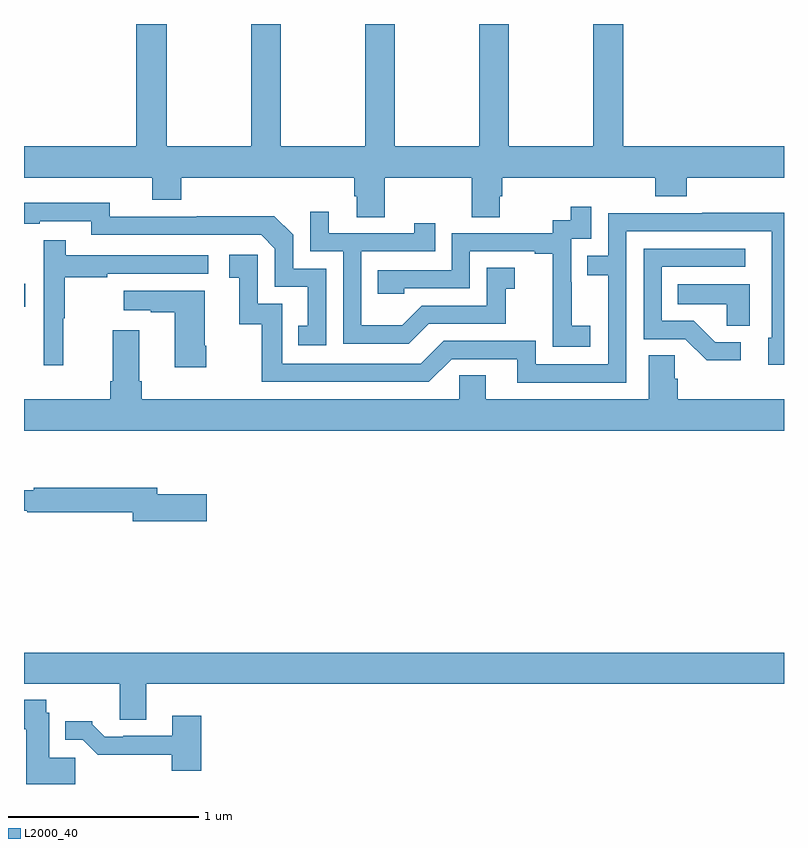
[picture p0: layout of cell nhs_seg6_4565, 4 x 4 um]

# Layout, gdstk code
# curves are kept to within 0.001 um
import gdstk
lib = gdstk.Library(unit=1e-6, precision=1e-09)
def R(c, l, rs):  # rectangles x0, y0, x1, y1
    for r in rs: c.add(gdstk.rectangle(r[:2], r[2:], *l))
def P(c, l, *ps):  # polygons
    for p in ps: c.add(gdstk.Polygon(p, *l))
L2000_40 = (2000, 40)

nhs_seg6_4565 = lib.new_cell('nhs_seg6_4565')
R(nhs_seg6_4565, L2000_40, [(381,924.011,381.007,924.133)])
P(nhs_seg6_4565, L2000_40, [(382.899,924.692),(383.356,924.692),(383.356,924.484),(383.503,924.484),(383.503,924.594),(383.516,924.594),(383.516,924.692),(384.323,924.692),(384.323,924.593),(384.488,924.593),(384.488,924.692),(385,924.692),(385,924.856),(384.155,924.856),(384.155,925.5),(383.995,925.5),(383.995,924.856),(383.55,924.856),(383.55,925.5),(383.395,925.5),(383.395,924.856),(382.95,924.856),(382.95,925.5),(382.795,925.5),(382.795,924.856),(382.35,924.856),(382.35,925.5),(382.195,925.5),(382.195,924.856),(381.75,924.856),(381.75,925.5),(381.59,925.5),(381.59,924.856),(381,924.856),(381,924.692),(381.674,924.692),(381.674,924.575),(381.827,924.575),(381.827,924.692),(382.739,924.692),(382.739,924.594),(382.751,924.594),(382.751,924.484),(382.899,924.484)],
  [(382.59,924.213),(382.416,924.213),(382.416,924.39),(382.318,924.488),(381.91,924.488),(381.91,924.486),(381.45,924.486),(381.45,924.559),(381,924.558),(381,924.45),(381.082,924.45),(381.082,924.462),(381.354,924.462),(381.354,924.39),(382.248,924.39),(382.32,924.318),(382.32,924.117),(382.493,924.117),(382.493,923.913),(382.444,923.913),(382.444,923.808),(382.59,923.808)],
  [(383.98,923.911),(383.882,923.911),(383.882,924.14),(383.88,924.14),(383.88,924.369),(383.985,924.369),(383.985,924.538),(383.877,924.538),(383.877,924.468),(383.784,924.468),(383.784,924.399),(383.25,924.399),(383.25,924.204),(382.861,924.204),(382.861,924.081),(383.001,924.081),(383.001,924.108),(383.346,924.108),(383.346,924.303),(383.687,924.303),(383.687,924.291),(383.783,924.291),(383.783,924.007),(383.782,924.007),(383.782,923.801),(383.98,923.801)],
  [(383.131,923.922),(383.535,923.922),(383.535,924.107),(383.584,924.107),(383.584,924.217),(383.436,924.217),(383.436,924.018),(383.094,924.018),(382.99,923.914),(382.776,923.914),(382.776,924.303),(383.165,924.303),(383.165,924.451),(383.054,924.451),(383.054,924.399),(382.603,924.399),(382.603,924.511),(382.506,924.511),(382.506,924.303),(382.68,924.303),(382.68,923.817),(383.026,923.817)],
  [(384.171,924.408),(384.936,924.408),(384.936,923.85),(384.917,923.85),(384.917,923.706),(385,923.706),(385,924.506),(384.571,924.506),(384.571,924.504),(384.075,924.504),(384.075,924.279),(383.965,924.279),(383.965,924.178),(384.075,924.178),(384.075,923.709),(383.694,923.709),(383.694,923.832),(383.208,923.832),(383.088,923.712),(382.359,923.712),(382.359,924.027),(382.23,924.027),(382.23,924.286),(382.08,924.286),(382.08,924.165),(382.133,924.165),(382.133,923.919),(382.251,923.919),(382.251,923.616),(383.13,923.616),(383.25,923.736),(383.597,923.736),(383.597,923.613),(384.171,923.613)],
  [(381.206,923.952),(381.214,923.952),(381.214,924.166),(381.437,924.166),(381.437,924.186),(381.97,924.186),(381.97,924.282),(381.221,924.282),(381.221,924.361),(381.105,924.361),(381.105,923.915),(381.104,923.915),(381.104,923.703),(381.206,923.703)],
  [(384.772,923.826),(384.637,923.826),(384.526,923.937),(384.357,923.937),(384.357,924.222),(384.796,924.222),(384.796,924.318),(384.261,924.318),(384.261,923.841),(384.48,923.841),(384.593,923.729),(384.772,923.729)],
  [(384.82,924.13),(384.442,924.13),(384.442,924.026),(384.699,924.026),(384.699,923.911),(384.82,923.911)],
  [(381.96,923.806),(381.952,923.806),(381.952,924.097),(381.525,924.097),(381.525,923.993),(381.668,923.993),(381.668,923.983),(381.794,923.983),(381.794,923.694),(381.96,923.694)],
  [(385,923.524),(384.44,923.524),(384.44,923.633),(384.426,923.633),(384.426,923.756),(384.287,923.756),(384.287,923.524),(383.431,923.524),(383.431,923.651),(383.292,923.651),(383.292,923.524),(381.62,923.524),(381.62,923.62),(381.607,923.62),(381.607,923.887),(381.467,923.887),(381.467,923.62),(381.455,923.62),(381.455,923.524),(381,923.524),(381,923.36),(385,923.36)],
  [(381.961,923.025),(381.7,923.025),(381.7,923.059),(381.052,923.059),(381.052,923.046),(381,923.046),(381,922.938),(381.016,922.938),(381.016,922.93),(381.572,922.93),(381.572,922.883),(381.961,922.883)],
  [(381.643,922.028),(385,922.028),(385,922.192),(381,922.192),(381,922.028),(381.503,922.028),(381.503,921.838),(381.643,921.838)],
  [(381.271,921.639),(381.133,921.639),(381.133,921.876),(381.117,921.876),(381.117,921.943),(381,921.943),(381,921.787),(381.011,921.787),(381.011,921.5),(381.271,921.5)],
  [(381.932,921.859),(381.779,921.859),(381.779,921.753),(381.523,921.753),(381.523,921.75),(381.424,921.75),(381.36,921.814),(381.36,921.829),(381.218,921.829),(381.218,921.732),(381.309,921.732),(381.388,921.654),(381.777,921.654),(381.777,921.569),(381.932,921.569)])

lib.write_gds('nhs_seg6_4565.gds')
